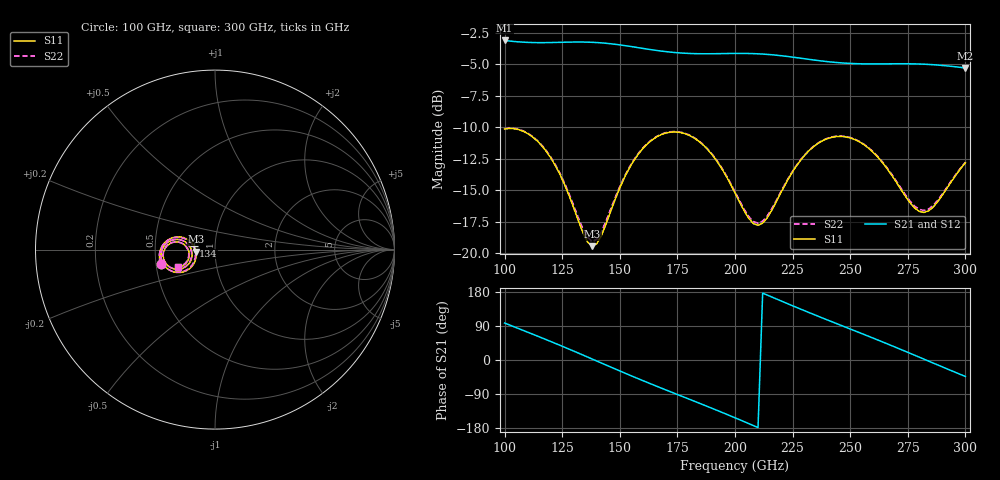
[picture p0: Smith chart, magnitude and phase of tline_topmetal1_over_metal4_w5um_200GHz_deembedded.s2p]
! Created with skrf 2.2.0 (http://scikit-rf.org).
# GHz S DB R 50.0
! Port[1] = P1
! Port[2] = P2
!freq dBS11 angS11 dBS21 angS21 dBS12 angS12 dBS22 angS22
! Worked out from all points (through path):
!   101 points, 100 GHz to 300 GHz, reference 50 ohm
!   highest |S21| = -3.11 dB at 100 GHz (marker M1); lowest = -5.3 dB at 300 GHz (marker M2)
!   group delay of S21, straight-line fit = 6.96 ps
!   lowest |S11| = -19.4 dB at 138 GHz (marker M3), VSWR 1.24, Z = 40.4 - j1.01 ohm
!   |S11| at or under -10 dB: start of sweep to end of sweep
!   |S22| runs from -19.1 to -10.1 dB; largest |S21 - S12| = 9.9e-14
!   S11 on the Smith chart (normalised r, x): 100 GHz: 0.53, -0.09; 134 GHz: 0.79, +0.04; 300 GHz: 0.65, -0.13
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100  -10.14 -165.5  -3.11 97.6  -3.11 97.6  -10.11 -165.1
108  -10.31 -179.2  -3.25 78.2  -3.25 78.2  -10.28 -178.7
116  -11.44 168.4  -3.28 58.8  -3.28 58.8  -11.39 169.1
126  -14.54 159.1  -3.25 33.8  -3.25 33.8  -14.41 160.2
134  -18.36 169.4  -3.24 13.1  -3.24 13.1  -18.06 170.3
138  -19.43 -173.4  -3.26 2.6  -3.26 2.6  -19.05 -173.4
146  -16.69 -145.6  -3.37 -18.5  -3.37 -18.5  -16.50 -146.8
154  -13.29 -144.9  -3.57 -39.2  -3.57 -39.2  -13.21 -145.9
168  -10.58 -162.6  -3.95 -74.1  -3.95 -74.1  -10.55 -163.0
176  -10.40 -174.5  -4.10 -93.5  -4.10 -93.5  -10.37 -174.7
184  -11.07 174.5  -4.16 -112.8  -4.16 -112.8  -11.03 174.4
200  -15.21 165.1  -4.14 -152.5  -4.14 -152.5  -15.11 165.3
208  -17.65 -178.9  -4.16 -173.1  -4.16 -173.1  -17.48 -179.0
212  -17.61 -165.7  -4.19 176.6  -4.19 176.6  -17.45 -166.2
222  -14.47 -149.7  -4.36 150.7  -4.36 150.7  -14.40 -150.4
234  -11.55 -157.3  -4.66 120.6  -4.66 120.6  -11.52 -157.8
250  -10.84 -177.1  -4.93 81.9  -4.93 81.9  -10.81 -177.4
258  -11.66 174.0  -4.97 62.5  -4.97 62.5  -11.62 173.9
268  -13.80 168.4  -4.96 37.9  -4.96 37.9  -13.72 168.4
282  -16.76 -171.8  -4.99 2.3  -4.99 2.3  -16.60 -172.4
290  -15.39 -156.3  -5.10 -18.2  -5.10 -18.2  -15.29 -157.2
300  -12.82 -154.5  -5.29 -43.4  -5.29 -43.4  -12.77 -155.3
